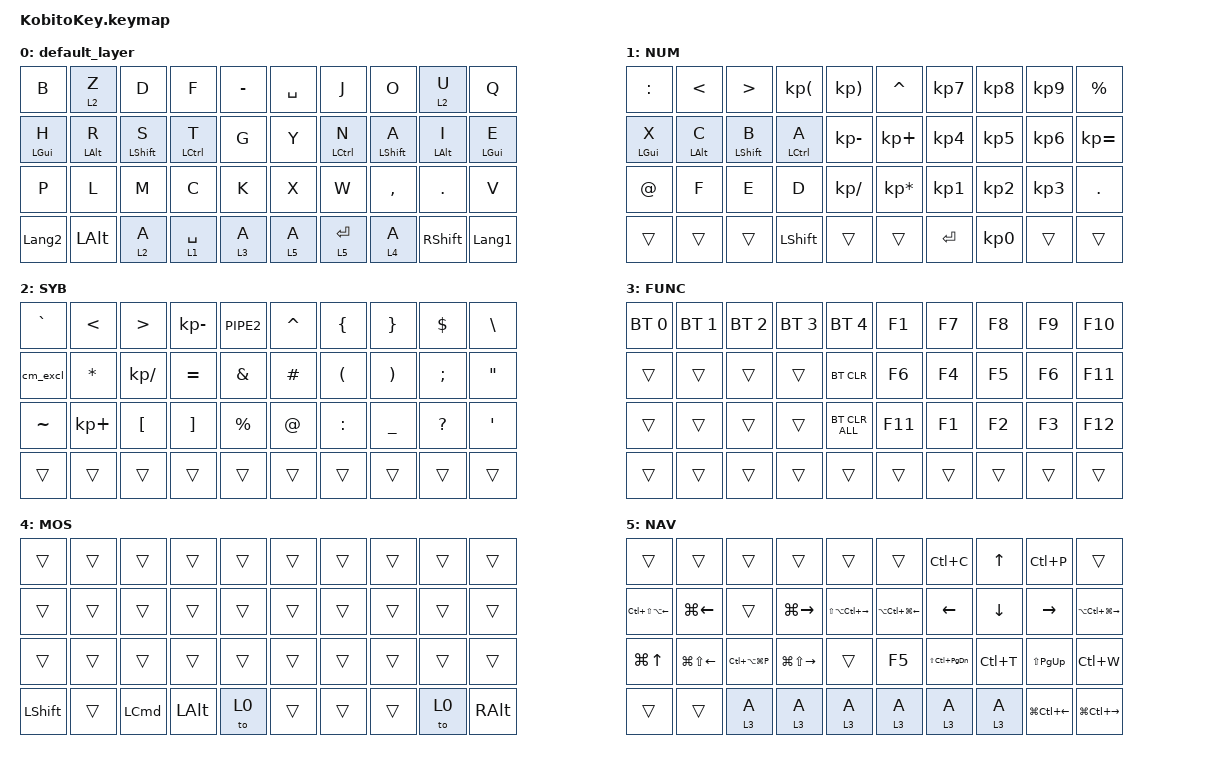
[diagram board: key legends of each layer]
#include <input/processors.dtsi>
#include <behaviors.dtsi>
#include <dt-bindings/zmk/bt.h>
#include <dt-bindings/zmk/keys.h>
#include <dt-bindings/zmk/pointing.h>

#include <zmk-helpers/helper.h> // Requires zmk-helpers module.
#include "boards/shields/KobitoKey/includes/40.h"

#define HM_TAPPING_TERM 280           // urob 流: 280ms (prior-idle ゲートがあるため長くても無害)
#define HM_PRIOR_IDLE 150             // urob 流: 150ms — timeless の肝。直前打鍵から 150ms 以内は即タップ
#define HM_QUICK_TAP 175              // urob 流: 175ms — 連打/リピート時の即時再タップ
#define COMBO_TERM 30          // 同指縦コンボ用: 指間ズレが無いので短く (ロール誤爆抑止)
#define COMBO_TERM_HORIZ 60    // 別指横並び用: 中指先行/相方指の遅れを吸収する緩めtimeout
#define COMBO_TERM_WIDE 75     // index+小指 (J+; 等) 用: 小指の遅れを吸収 (FN 対策)
#define COMBO_IDLE 175         // combo 既定 require-prior-idle-ms: 打鍵流中は combo を無効化

// https://github.com/urob/zmk-config/tree/main#timeless-homerow-mods

#define ZMK_POINTING_DEFAULT_SCRL_VAL 15

/ {
    // Activate ADJUST layer by pressing raise and lower

    behaviors {
        hm_l: homerow_mods_left {
            compatible = "zmk,behavior-hold-tap";
            #binding-cells = <2>;
            bindings = <&kp>, <&kp>;

            flavor = "balanced";
            tapping-term-ms = <HM_TAPPING_TERM>;
            quick-tap-ms = <HM_QUICK_TAP>;
            require-prior-idle-ms = <HM_PRIOR_IDLE>;
            hold-trigger-key-positions = <KEYS_R KEYS_T>;
            hold-trigger-on-release;
        };

        hm_r: homerow_mods_right {
            compatible = "zmk,behavior-hold-tap";
            #binding-cells = <2>;
            bindings = <&kp>, <&kp>;

            flavor = "balanced";
            tapping-term-ms = <HM_TAPPING_TERM>;
            quick-tap-ms = <HM_QUICK_TAP>;
            require-prior-idle-ms = <HM_PRIOR_IDLE>;
            hold-trigger-key-positions = <KEYS_L KEYS_T>;
            hold-trigger-on-release;
        };

        // hm_shift_l / hm_shift_r (Townk 流 prior-idle=0) は 2026-06 に撤去。
        // 速打時の Shift 暴発源だったため、Shift も hm_l/hm_r の一律 timeless 値へ統一。

        /*
         * Non-Positional Homerow Mods
         * Used for &mm_grescm_gui behavior on left hand.
         *
         * Usage: &hm LSHFT T
         * Tap: T
         * Tap-Tap-Hold: Repeat T
         * Hold: LSHIFT
         */

        hm: homerow_mods {
            compatible = "zmk,behavior-hold-tap";
            #binding-cells = <2>;
            bindings = <&kp>, <&kp>;

            flavor = "balanced";
            tapping-term-ms = <HM_TAPPING_TERM>;
            quick-tap-ms = <200>;
        };

        bs_del: bs_del {
            compatible = "zmk,behavior-mod-morph";
            #binding-cells = <0>;
            bindings = <&kp BSPC>, <&kp DEL>;

            mods = <(MOD_LSFT|MOD_RSFT)>;
        };

        lt: layer_tap {
            compatible = "zmk,behavior-hold-tap";
            #binding-cells = <2>;
            bindings = <&mo>, <&kp>;

            flavor = "hold-preferred";
            tapping-term-ms = <HM_TAPPING_TERM>;
            quick-tap-ms = <200>;
        };

        // lt_g: tap-preferred layer-tap (used for G → Navi)
        // 値は main ブランチ準拠 (filterpaper 流の HM 定数を継承せず固定)
        // ユーザの打鍵感覚で main の挙動が最も自然と確認済み (2026-05-29)

        lt_g: layer_tap_g {
            compatible = "zmk,behavior-hold-tap";
            #binding-cells = <2>;
            bindings = <&mo>, <&kp>;

            flavor = "tap-preferred";
            tapping-term-ms = <250>;
            quick-tap-ms = <200>;
            require-prior-idle-ms = <70>;
        };

        // urob zmk-leader-key モジュール (2026-06 導入)
        // 開始キー (combo E+I) → 後続の並びで IDE ジェスチャ等を発火する namespace。
        // このモジュール版は timeout/layers/immediate-trigger を持たない:
        //   有効な並びが揃うまで待機し、無効キーで中断する (せかされない代わりに宙ぶらりんに注意)。
        // 並びはキーコード列 (README の <U S B>=“usb” と同形式)。bindings には任意 behavior/マクロ可。
        leader: leader {
            compatible = "zmk,behavior-leader-key";
            #binding-cells = <0>;

            ldr_cc { sequence = <C C>; bindings = <&ctrl_ctrl>; };    // leader→c c : Ctrl 二連打
            ldr_ss { sequence = <S S>; bindings = <&shift_shift>; };  // leader→s s : Shift 二連打
            // 追加例: ldr_run { sequence = <R>; bindings = <&kp F10 等>; };
            //   Run/Debug は IDE のショートカット (例 IntelliJ: Shift+F10/F9) を教われば足せる。
        };

        // === combo 用 mod-morph (shift / alt 連動) ===
        cm_quote: cm_quote {
            compatible = "zmk,behavior-mod-morph";
            #binding-cells = <0>;
            bindings = <&kp SQT>, <&kp DQT>;
            mods = <(MOD_LSFT|MOD_RSFT)>;
        };
        cm_lpar: cm_lpar {
            compatible = "zmk,behavior-mod-morph";
            #binding-cells = <0>;
            bindings = <&kp LPAR>, <&kp LT>;
            mods = <(MOD_LSFT|MOD_RSFT)>;
        };
        cm_rpar: cm_rpar {
            compatible = "zmk,behavior-mod-morph";
            #binding-cells = <0>;
            bindings = <&kp RPAR>, <&kp GT>;
            mods = <(MOD_LSFT|MOD_RSFT)>;
        };
        cm_lbkt: cm_lbkt {
            compatible = "zmk,behavior-mod-morph";
            #binding-cells = <0>;
            bindings = <&kp LBKT>, <&kp LBRC>;
            mods = <(MOD_LSFT|MOD_RSFT)>;
        };
        cm_rbkt: cm_rbkt {
            compatible = "zmk,behavior-mod-morph";
            #binding-cells = <0>;
            bindings = <&kp RBKT>, <&kp RBRC>;
            mods = <(MOD_LSFT|MOD_RSFT)>;
        };
        cm_excl: cm_excl {
            compatible = "zmk,behavior-mod-morph";
            #binding-cells = <0>;
            bindings = <&kp EXCLAMATION>, <&kp QUESTION>;
            mods = <(MOD_LSFT|MOD_RSFT)>;
        };
        cm_mins: cm_mins {
            compatible = "zmk,behavior-mod-morph";
            #binding-cells = <0>;
            bindings = <&kp KP_MINUS>, <&kp EQUAL>;
            mods = <(MOD_LSFT|MOD_RSFT)>;
        };
        cm_at: cm_at {
            compatible = "zmk,behavior-mod-morph";
            #binding-cells = <0>;
            bindings = <&kp AT>, <&kp HASH>;
            mods = <(MOD_LSFT|MOD_RSFT)>;
        };
        cm_amp: cm_amp {
            compatible = "zmk,behavior-mod-morph";
            #binding-cells = <0>;
            bindings = <&kp AMPERSAND>, <&kp DOLLAR>;
            mods = <(MOD_LSFT|MOD_RSFT)>;
        };
        // df combo: 通常は leader、Alt 保持中は Tab (keep-mods で Alt を残し Alt+Tab に)
        df_lead: df_lead {
            compatible = "zmk,behavior-mod-morph";
            #binding-cells = <0>;
            bindings = <&leader>, <&kp TAB>;
            mods = <(MOD_LALT|MOD_RALT)>;
            keep-mods = <(MOD_LALT|MOD_RALT)>;
        };
    };

    conditional_layers {
        compatible = "zmk,conditional-layers";

        adjust_layer {
            if-layers = <2 1>;
            then-layer = <3>;
        };
    };

    combos {
        compatible = "zmk,combos";

        // 全 combo 共通: timeout-ms=COMBO_TERM(30) でロール誤爆抑止 / require-prior-idle-ms=COMBO_IDLE(175)。
        // 不発が出たら個別に timeout-ms を上げる。とくに「同指縦コンボ」(ws/ed/rf/tg/yh/uj/ik/ol,
        // sx/dc/fv/gb/hn/jm/k,/l.) は構造上ロール誤爆に強いが timeout=30 で不発になりやすい筆頭。

        // --- 編集 / ナビ ---
        cb_kp_esc    { key-positions = <LM3 LM2>;   bindings = <&kp ESC>;   layers = <0>; timeout-ms = <COMBO_TERM>;      require-prior-idle-ms = <COMBO_IDLE>; };  // W+E
        cb_kp_tab    { key-positions = <LM4 LM3>; bindings = <&kp TAB>;   layers = <0>; timeout-ms = <COMBO_TERM>;      require-prior-idle-ms = <COMBO_IDLE>; };  // S+D
        cb_kp_del    { key-positions = <RT3 RT2>;   bindings = <&kp DEL>;   layers = <0>; timeout-ms = <COMBO_TERM_HORIZ>; require-prior-idle-ms = <COMBO_IDLE>; };  // U+I  (横並び: 緩め)
        cb_kp_bs     { key-positions = <RT1 RT2>;  bindings = <&bs_del>;   layers = <0>; timeout-ms = <COMBO_TERM_HORIZ>; require-prior-idle-ms = <COMBO_IDLE>; };  // I+O  (Shift=DEL, 横並び: 緩め)
        //cb_kp_insert { key-positions = <10 20>; bindings = <&kp INS>;   layers = <0>; timeout-ms = <COMBO_TERM_HORIZ>; require-prior-idle-ms = <COMBO_IDLE>; };  // O+J  (横並び: 緩め)
        //cb_kp_enter  { key-positions = <20 23>; bindings = <&kp ENTER>; layers = <0>; timeout-ms = <COMBO_TERM_WIDE>; require-prior-idle-ms = <COMBO_IDLE>; };  // J+; (widechord)
        cb_leader    { key-positions =  <LM4 LM3 LM2>; bindings = <&df_lead>;  layers = <0>; timeout-ms = <COMBO_TERM>;      require-prior-idle-ms = <COMBO_IDLE>; };  // D+F = leader / Alt+Tab
        cb_kp_rght    { key-positions = <RM3 RM2>;   bindings = <&kp RIGHT>;   layers = <0>; timeout-ms = <COMBO_TERM>; require-prior-idle-ms = <COMBO_IDLE>; };  // U+I  (横並び: 緩め)
        cb_kp_left    { key-positions = <RM1 RM2>;  bindings = <&kp LEFT>;   layers = <0>; timeout-ms = <COMBO_TERM>; require-prior-idle-ms = <COMBO_IDLE>; };  // I+O  (Shift=DEL, 横並び: 緩め)
        cb_kp_down    { key-positions = <RM3 RT2>;   bindings = <&kp DOWN>;   layers = <0>; timeout-ms = <COMBO_TERM>; require-prior-idle-ms = <COMBO_IDLE>; };  // U+I  (横並び: 緩め)
        cb_kp_up      { key-positions = <RM1 RT2>;  bindings = <&kp UP>;   layers = <0>; timeout-ms = <COMBO_TERM>; require-prior-idle-ms = <COMBO_IDLE>; };  // I+O  (Shift=DEL, 横並び: 緩め)
        cb_kp_pgdn    { key-positions = <RB3 RM2>;  bindings = <&kp PG_DN>;   layers = <0>; timeout-ms = <COMBO_TERM>; require-prior-idle-ms = <COMBO_IDLE>; };  // U+I  (横並び: 緩め)
        cb_kp_pgup    { key-positions = <RB1 RM2>;  bindings = <&kp PG_UP>;   layers = <0>; timeout-ms = <COMBO_TERM>; require-prior-idle-ms = <COMBO_IDLE>; };  // I+O  (Shift=DEL, 横並び: 緩め)
        cb_kp_f2      { key-positions = <RT1 RM1>;  bindings = <&kp F2>;   layers = <0>; timeout-ms = <COMBO_TERM_HORIZ>; require-prior-idle-ms = <COMBO_IDLE>; };  // I+O  (Shift=DEL, 横並び: 緩め)
        cb_kp_f5      { key-positions = <RT2 RM2>;  bindings = <&kp F5>;   layers = <0>; timeout-ms = <COMBO_TERM_HORIZ>; require-prior-idle-ms = <COMBO_IDLE>; };  // I+O  (Shift=DEL, 横並び: 緩め)
        cb_kp_f11     { key-positions = <RT3 RM3>;  bindings = <&kp F11>;   layers = <0>; timeout-ms = <COMBO_TERM_HORIZ>; require-prior-idle-ms = <COMBO_IDLE>; };  // I+O  (Shift=DEL, 横並び: 緩め)
        cb_kp_f10     { key-positions = <RT2 RT3 RM1>;  bindings = <&kp F10>;   layers = <0>; timeout-ms = <COMBO_TERM>; require-prior-idle-ms = <COMBO_IDLE>; };  // I+O  (Shift=DEL, 横並び: 緩め)
        cb_kp_f7      { key-positions = <RB1 RM2 RM3>;  bindings = <&kp F7>;   layers = <0>; timeout-ms = <COMBO_TERM>; require-prior-idle-ms = <COMBO_IDLE>; };  // I+O  (Shift=DEL, 横並び: 緩め)
        cb_kp_copy    { key-positions = <RM3 RM2 RM1>;   bindings = <&kp LC(C)>;   layers = <0>; timeout-ms = <COMBO_TERM>; require-prior-idle-ms = <COMBO_IDLE>; };  // U+I  (横並び: 緩め)
        cb_kp_past    { key-positions = <RM3 RM2 RM4 RM1>;   bindings = <&kp LC(P)>;   layers = <0>; timeout-ms = <COMBO_TERM>; require-prior-idle-ms = <COMBO_IDLE>; };  // U+I  (横並び: 緩め)

        // --- mouse / (&mkp) ---
        cb_mb1       { key-positions =  <RT0 RT1>; bindings = <&mkp MB1>;  layers = <0>; timeout-ms = <COMBO_TERM>;      require-prior-idle-ms = <COMBO_IDLE>; };  // D+F = leader / Alt+Tab
        cb_mb2       { key-positions =  <RT0 RT1 RT2>; bindings = <&mkp MB2>;  layers = <0>; timeout-ms = <COMBO_TERM_WIDE>;      require-prior-idle-ms = <COMBO_IDLE>; };  // D+F = leader / Alt+Tab
        cb_mb3       { key-positions =  <RT0 RM0>; bindings = <&mkp MB3>;  layers = <0>; timeout-ms = <COMBO_TERM_HORIZ>;      require-prior-idle-ms = <COMBO_IDLE>; };  // D+F = leader / Alt+Tab
        cb_mb4       { key-positions =  <RM0 RM1 RM2>; bindings = <&mkp MB4>;  layers = <0>; timeout-ms = <COMBO_TERM_WIDE>;      require-prior-idle-ms = <COMBO_IDLE>; };  // D+F = leader / Alt+Tab
        cb_mb5       { key-positions =  <RB0 RB1 RB2>; bindings = <&mkp MB5>;  layers = <0>; timeout-ms = <COMBO_TERM_WIDE>;      require-prior-idle-ms = <COMBO_IDLE>; };  // D+F = leader / Alt+Tab
        cb_app       { key-positions =  <RB3 RB1 RB2>; bindings = <&kp K_APP>;  layers = <0>; timeout-ms = <COMBO_TERM_WIDE>;      require-prior-idle-ms = <COMBO_IDLE>; };  // D+F = leader / Alt+Tab

        // --- 記号 (単純 &kp) ---
        // cb_hash      { key-positions = <RB1 RM1>; bindings = <&kp HASH>;      layers = <0>; timeout-ms = <COMBO_TERM_HORIZ>; require-prior-idle-ms = <COMBO_IDLE>; };  // E+D
        // cb_dollar    { key-positions = <RT4 RT5>;  bindings = <&kp DOLLAR>;    layers = <0>; timeout-ms = <COMBO_TERM>; require-prior-idle-ms = <COMBO_IDLE>; };  // R+F
        cb_percent   { key-positions = <4 16>;  bindings = <&kp PERCENT>;   layers = <0>; timeout-ms = <COMBO_TERM>; require-prior-idle-ms = <COMBO_IDLE>; };  // T+G
        cb_caret     { key-positions = <RT1 RT3>;  bindings = <&kp CARET>;     layers = <0>; timeout-ms = <COMBO_TERM>; require-prior-idle-ms = <COMBO_IDLE>; };  // Y+H
        cb_plus      { key-positions = <RM3 RM1 RT2>;  bindings = <&kp PLUS>;      layers = <0>; timeout-ms = <COMBO_TERM>; require-prior-idle-ms = <COMBO_IDLE>; };  // U+J
        cb_asterisk  { key-positions = <RM4 RM2 RT3>;  bindings = <&kp ASTERISK>;  layers = <0>; timeout-ms = <COMBO_TERM>; require-prior-idle-ms = <COMBO_IDLE>; };  // I+K
        // cb_grave     { key-positions = <13 25>; bindings = <&kp GRAVE>;     layers = <0>; timeout-ms = <COMBO_TERM>; require-prior-idle-ms = <COMBO_IDLE>; };  // S+X
        cb_bslh      { key-positions = <RT3 RM4>; bindings = <&kp BSLH>;      layers = <0>; timeout-ms = <COMBO_TERM>; require-prior-idle-ms = <COMBO_IDLE>; };  // D+C
        // cb_equal     { key-positions = <15 27>; bindings = <&kp EQUAL>;     layers = <0>; timeout-ms = <COMBO_TERM>; require-prior-idle-ms = <COMBO_IDLE>; };  // F+V
        // cb_tilde     { key-positions = <16 28>; bindings = <&kp TILDE>;     layers = <0>; timeout-ms = <COMBO_TERM>; require-prior-idle-ms = <COMBO_IDLE>; };  // G+B (旧 Space を置換)
        cb_under     { key-positions = <RB3 RB1>; bindings = <&kp UNDER>;     layers = <0>; timeout-ms = <COMBO_TERM>; require-prior-idle-ms = <COMBO_IDLE>; };  // H+N
        cb_fslh      { key-positions = <RM4 RM2>; bindings = <&kp FSLH>;      layers = <0>; timeout-ms = <COMBO_TERM>; require-prior-idle-ms = <COMBO_IDLE>; };  // K+,
        cb_pipe      { key-positions = <RB3 RM3>; bindings = <&kp PIPE>;      layers = <0>; timeout-ms = <COMBO_TERM_HORIZ>; require-prior-idle-ms = <COMBO_IDLE>; };  // L+.
        cb_coln      { key-positions = <RB2 RB3>; bindings = <&kp SEMI>;      layers = <0>; timeout-ms = <COMBO_TERM>; require-prior-idle-ms = <COMBO_IDLE>; };  // K+,
        cb_scln      { key-positions = <RB1 RB2>; bindings = <&kp COLON>;      layers = <0>; timeout-ms = <COMBO_TERM>; require-prior-idle-ms = <COMBO_IDLE>; };  // L+.
        cb_at        { key-positions = <RB0 RM0>; bindings = <&cm_at>;        layers = <0>; timeout-ms = <COMBO_TERM_HORIZ>; require-prior-idle-ms = <COMBO_IDLE>; };  // W+S
        cb_amp       { key-positions = <RB1 RM1>; bindings = <&cm_amp>;      layers = <0>; timeout-ms = <COMBO_TERM>; require-prior-idle-ms = <COMBO_IDLE>; };  // O+L
        cb_minus     { key-positions = <RM3 RM1>; bindings = <&cm_mins>;     layers = <0>; timeout-ms = <COMBO_TERM>; require-prior-idle-ms = <COMBO_IDLE>; };  // J+M

        // --- 括弧 / 引用符 (shift 連動 mod-morph) ---
        //cb_quote     { key-positions = <20 22>; bindings = <&cm_quote>; layers = <0>; timeout-ms = <COMBO_TERM_HORIZ>; require-prior-idle-ms = <COMBO_IDLE>; };  // J+L: ' / "  (横並び: 緩め)
        //cb_lpar      { key-positions = <20 21>; bindings = <&cm_lpar>;  layers = <0>; timeout-ms = <COMBO_TERM_HORIZ>; require-prior-idle-ms = <COMBO_IDLE>; };  // J+K: ( / <  (横並び: 緩め)
        //cb_rpar      { key-positions = <21 22>; bindings = <&cm_rpar>;  layers = <0>; timeout-ms = <COMBO_TERM_HORIZ>; require-prior-idle-ms = <COMBO_IDLE>; };  // K+L: ) / >  (横並び: 緩め)
        //cb_lbkt      { key-positions = <34 35>; bindings = <&cm_lbkt>;  layers = <0>; timeout-ms = <COMBO_TERM_HORIZ>; require-prior-idle-ms = <COMBO_IDLE>; };  // M+,: [ / {  (横並び: 緩め)
        //cb_rbkt      { key-positions = <35 36>; bindings = <&cm_rbkt>;  layers = <0>; timeout-ms = <COMBO_TERM_HORIZ>; require-prior-idle-ms = <COMBO_IDLE>; };  // ,+.: ] / }  (横並び: 緩め)

        // --- Ins/Del 派生 ---
        //cb_ctrl_ins  { key-positions = <25 26>; bindings = <&kp LC(INS)>; layers = <0>; timeout-ms = <COMBO_TERM>; require-prior-idle-ms = <COMBO_IDLE>; };  // X+C
        //cb_shift_ins { key-positions = <26 27>; bindings = <&kp LS(INS)>; layers = <0>; timeout-ms = <COMBO_TERM>; require-prior-idle-ms = <COMBO_IDLE>; };  // C+V
        //cb_shift_del { key-positions = <25 27>; bindings = <&kp LS(DEL)>; layers = <0>; timeout-ms = <COMBO_TERM>; require-prior-idle-ms = <COMBO_IDLE>; };  // X+V
    };

    macros {
        // my_macro_zenhan (Alt+`) を撤去 (2026-06: zenhan combo 撤去で参照ゼロの dead code 化)。
        //   全/半 切替を再度キーに割り当てたくなったら、この Alt+` tap マクロを復活させる。

        // IDE ジェスチャ: 同一修飾の二連打 (host に double-tap として検出させる)
        // wait/tap を短めにして二打を「連続」と認識させる。IDE が拾わなければ値を調整。
        ctrl_ctrl: ctrl_ctrl {
            compatible = "zmk,behavior-macro";
            #binding-cells = <0>;
            wait-ms = <40>;
            tap-ms = <40>;
            bindings = <&kp LCTRL>, <&kp LCTRL>;
            label = "CTRL_CTRL";
        };

        shift_shift: shift_shift {
            compatible = "zmk,behavior-macro";
            #binding-cells = <0>;
            wait-ms = <40>;
            tap-ms = <40>;
            bindings = <&kp LSHFT>, <&kp LSHFT>;
            label = "SHIFT_SHIFT";
        };
    };

    keymap {
        compatible = "zmk,keymap";

        default_layer {
        bindings = <
&kp B           &lt_g 2 Z       &kp D             &kp F         &kp MINUS  &kp SPACE  &kp J           &kp O              &lt_g 2 U        &kp Q
&hm_l  LGUI H   &hm_l LALT R    &hm_l LSHFT S     &hm_l LCTRL T &kp G      &kp Y      &hm_r  LCTRL N  &hm_r  LSHFT A     &hm_r  LALT I    &hm_r  LGUI E
&kp P           &kp L           &kp M             &kp C         &kp K      &kp X      &kp W           &kp COMMA          &kp DOT          &kp V
&kp LANGUAGE_2  &kp LALT        &lt 2 A           &lt 1 SPACE   &lt 3 A    &lt 5 A    &lt 5 ENTER     &lt 4 A            &kp RSHFT        &kp LANGUAGE_1
            >; 
        };

        NUM {
            label = "NUM";
            bindings = <
&kp COLON       &kp LESS_THAN   &kp GREATER_THAN  &kp KP_LPAR  &kp KP_RPAR    &kp CARET        &kp KP_NUMBER_7  &kp KP_NUMBER_8  &kp KP_NUMBER_9  &kp PERCENT
&mt LEFT_GUI X  &mt LEFT_ALT C  &mt LEFT_SHIFT B  &mt LCTRL A  &kp KP_MINUS   &kp KP_PLUS      &kp KP_NUMBER_4  &kp KP_NUMBER_5  &kp KP_NUMBER_6  &kp KP_EQUAL
&kp AT_SIGN     &kp F           &kp E             &kp D        &kp KP_DIVIDE  &kp KP_ASTERISK  &kp KP_NUMBER_1  &kp KP_NUMBER_2  &kp KP_NUMBER_3  &kp DOT
&trans          &trans          &trans            &kp LSHFT    &trans         &trans           &kp ENTER        &kp KP_NUMBER_0  &trans           &trans
            >;
        };

        SYB {
            label = "SYB";
            bindings = <
&kp GRAVE        &kp LESS_THAN  &kp GREATER_THAN  &kp KP_MINUS       &kp PIPE2      &kp CARET    &kp LEFT_BRACE  &kp RIGHT_BRACE  &kp DOLLAR     &kp BACKSLASH
&cm_excl         &kp ASTERISK   &kp KP_SLASH      &kp EQUAL          &kp AMPERSAND  &kp HASH     &kp LPAR        &kp RPAR         &kp SEMICOLON  &kp DOUBLE_QUOTES
&kp TILDE        &kp KP_PLUS    &kp LEFT_BRACKET  &kp RIGHT_BRACKET  &kp PERCENT    &kp AT_SIGN  &kp COLON       &kp UNDERSCORE   &kp QUESTION   &kp SINGLE_QUOTE
&trans           &trans         &trans            &trans             &trans         &trans       &trans          &trans           &trans         &trans
            >;
        };

        FUNC {
            label = "FUNC";
            bindings = <
&bt BT_SEL 0  &bt BT_SEL 1  &bt BT_SEL 2  &bt BT_SEL 3  &bt BT_SEL 4    &kp F1   &kp F7  &kp F8  &kp F9  &kp F10
&trans        &trans        &trans        &trans        &bt BT_CLR      &kp F6   &kp F4  &kp F5  &kp F6  &kp F11
&trans        &trans        &trans        &trans        &bt BT_CLR_ALL  &kp F11  &kp F1  &kp F2  &kp F3  &kp F12
&trans        &trans        &trans        &trans        &trans          &trans   &trans  &trans  &trans  &trans
            >;
        };

        MOS {
            label = "MOS";
            bindings = <
&trans     &trans  &trans    &trans    &trans  &trans  &trans    &trans    &trans    &trans
&trans     &trans  &trans    &trans    &trans  &trans  &trans    &trans    &trans    &trans
&trans     &trans  &trans    &trans    &trans  &trans  &trans    &trans    &trans    &trans
&kp LSHFT  &trans  &kp LCMD  &kp LALT  &to 0   &trans  &trans    &trans    &to 0     &kp RALT
            >;
        };

        NAV {
            label = "NAV";
            bindings = <
&trans                      &trans                  &trans             &trans                   &trans                       &trans                      &kp LC(C)              &kp UP_ARROW    &kp LC(P)               &trans
&kp LC(LS(LA(LEFT_ARROW)))  &kp LG(LEFT_ARROW)      &trans             &kp LG(RIGHT_ARROW)      &kp LS(LA(LC(RIGHT_ARROW)))  &kp LA(LC(LG(LEFT_ARROW)))  &kp LEFT_ARROW         &kp DOWN_ARROW  &kp RIGHT_ARROW         &kp LA(LC(LG(RIGHT_ARROW)))
&kp LG(UP_ARROW)            &kp LG(LS(LEFT_ARROW))  &kp LC(LA(LG(P)))  &kp LG(LS(RIGHT_ARROW))  &trans                       &kp F5                      &kp LS(LC(PAGE_DOWN))  &kp LC(T)       &kp LS(PAGE_UP)         &kp LC(W)
&trans                      &trans                  &lt 3 A            &lt 3 A                  &lt 3 A                      &lt 3 A                     &lt 3 A                &lt 3 A         &kp LG(LC(LEFT_ARROW))  &kp LG(LC(RIGHT_ARROW))
            >;
        };
    };
};
